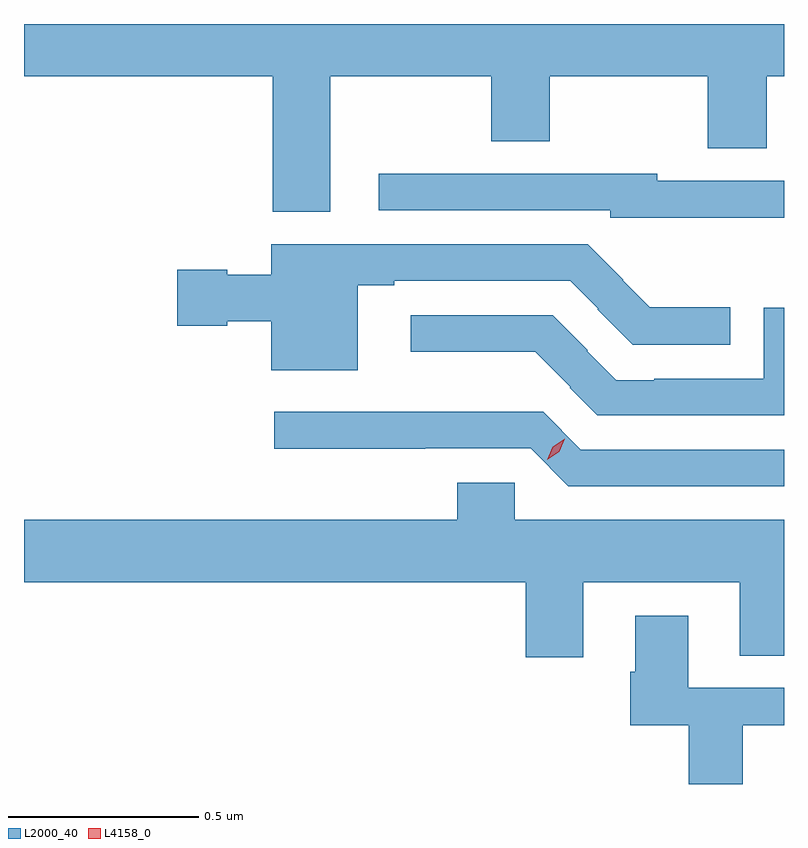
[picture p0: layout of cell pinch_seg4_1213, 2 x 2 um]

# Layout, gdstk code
import gdstk
lib = gdstk.Library(unit=1e-6, precision=1e-09)
def P(c, l, *ps):  # polygons
    for p in ps: c.add(gdstk.Polygon(p, *l))
L2000_40 = (2000, 40)
L4158_0 = (4158, 0)

pinch_seg4_1213 = lib.new_cell('pinch_seg4_1213')
P(pinch_seg4_1213, L2000_40, [(533.593,788.828),(534.016,788.828),(534.016,788.656),(534.171,788.656),(534.171,788.828),(534.586,788.828),(534.586,788.638),(534.741,788.638),(534.741,788.828),(534.787,788.828),(534.787,788.965),(532.787,788.965),(532.787,788.828),(533.441,788.828),(533.441,788.471),(533.593,788.471)],
  [(534.787,788.553),(534.453,788.553),(534.453,788.571),(533.721,788.571),(533.721,788.475),(534.33,788.475),(534.33,788.455),(534.787,788.455)],
  [(533.665,788.277),(533.761,788.277),(533.761,788.289),(534.225,788.289),(534.298,788.216),(534.296,788.214),(534.389,788.121),(534.646,788.121),(534.646,788.22),(534.434,788.22),(534.363,788.291),(534.364,788.292),(534.271,788.385),(533.438,788.385),(533.438,788.305),(533.322,788.305),(533.322,788.318),(533.19,788.318),(533.19,788.171),(533.322,788.171),(533.322,788.183),(533.438,788.183),(533.438,788.054),(533.665,788.054)],
  [(534.787,788.218),(534.734,788.218),(534.734,788.031),(534.445,788.031),(534.445,788.028),(534.345,788.028),(534.269,788.104),(534.271,788.106),(534.178,788.199),(533.805,788.199),(533.805,788.102),(534.133,788.102),(534.225,788.01),(534.223,788.008),(534.296,787.935),(534.787,787.935)],
  [(534.787,787.845),(534.252,787.845),(534.153,787.944),(534.056,787.944),(534.056,787.945),(533.817,787.945),(533.817,787.944),(533.445,787.944),(533.445,787.847),(533.843,787.847),(533.843,787.848),(534.12,787.848),(534.219,787.749),(534.787,787.749)],
  [(534.259,787.496),(534.671,787.496),(534.671,787.303),(534.787,787.303),(534.787,787.66),(534.078,787.66),(534.078,787.758),(533.927,787.758),(533.927,787.66),(532.787,787.66),(532.787,787.496),(534.107,787.496),(534.107,787.299),(534.259,787.299)],
  [(534.678,787.12),(534.787,787.12),(534.787,787.218),(534.535,787.218),(534.535,787.408),(534.395,787.408),(534.395,787.26),(534.383,787.26),(534.383,787.12),(534.536,787.12),(534.536,786.965),(534.678,786.965)])
P(pinch_seg4_1213, L4158_0, [(534.164,787.818),(534.164,787.818),(534.179,787.852),(534.21,787.874),(534.21,787.874),(534.21,787.874),(534.195,787.84),(534.164,787.818)])

lib.write_gds('pinch_seg4_1213.gds')
